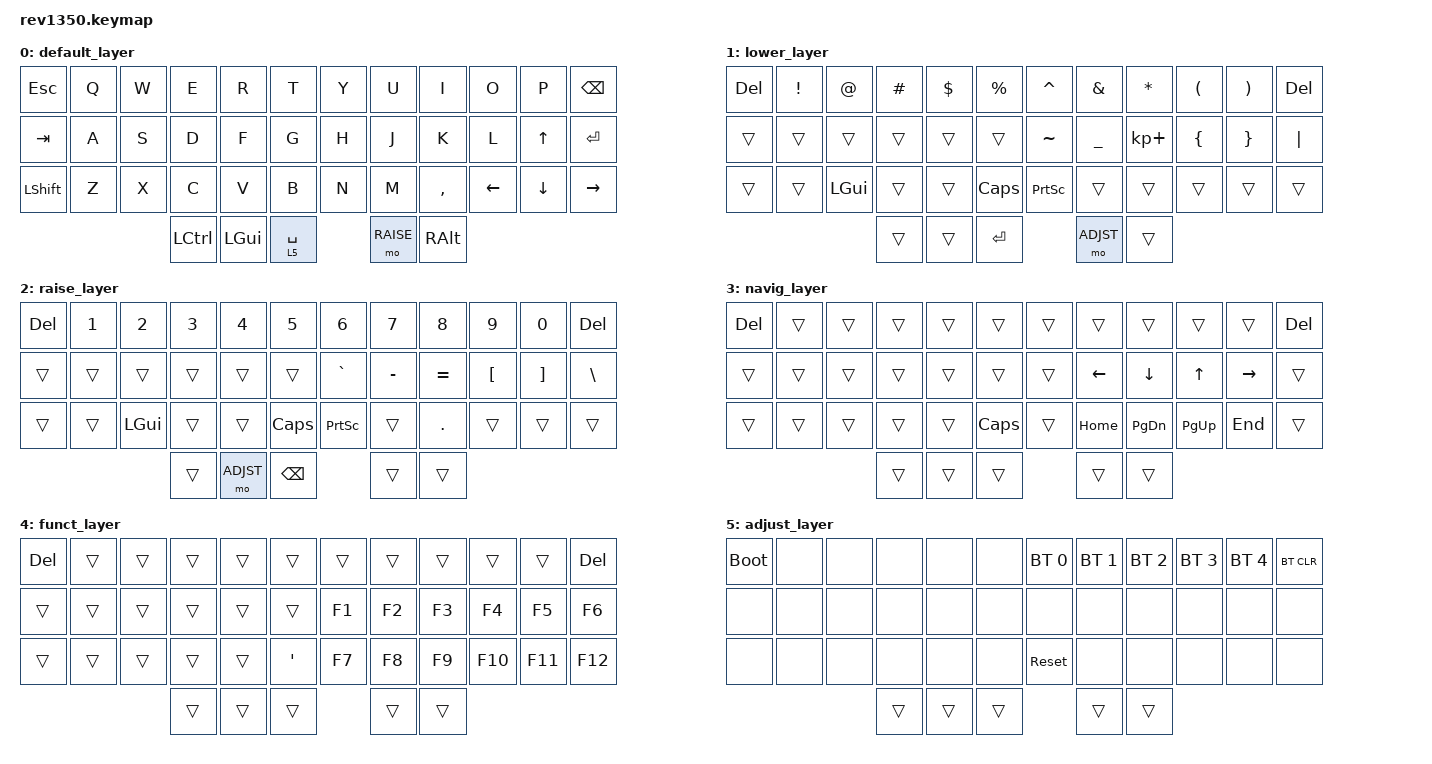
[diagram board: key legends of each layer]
/*
 * Copyright (c) 2020 The ZMK Contributors
 *
 * SPDX-License-Identifier: MIT
 */

#include <behaviors.dtsi>
#include <dt-bindings/zmk/bt.h>
#include <dt-bindings/zmk/keys.h>

#define DEFAULT 0
#define LOWER   1
#define RAISE   2
#define NAVIG   3
#define FUNCT   4
#define ADJST   5

/ {
    behaviors {
        hm: homerow_mods {
            compatible = "zmk,behavior-hold-tap";
            label = "HOMEROW_MODS";
            #binding-cells = <2>;
            tapping-term-ms = <150>;
            quick_tap_ms = <0>;
            flavor = "tap-preferred";
            bindings = <&kp>, <&kp>;
        };
    };

    keymap {
        compatible = "zmk,keymap";

        default_layer {
            // --------------------------------------------------------------------------------------
            // |  TAB |  Q   |  W   |  E   |  R   |  T  |   |  Y  |  U   |  I   |  O   |  P  | BKSP |
            // | CTRL |  A   |  S   |  D   |  F   |  G  |   |  H  |  J   |  K   |  L   |  ;  |   '  |
            // | SHFT |CTL(Z)|ALT(X)|SFT(C)|CTL(V)|  B  |   |  N  |CTL(M)|SFT(,)|ALT(.)|  /  |RETURN|
            //                         | LGUI | LWR |  SPACE  | RSE | FUNC |

            bindings = <
&kp ESCAPE  &kp Q        &kp W       &kp E             &kp R         &kp T               &kp Y  &kp U      &kp I          &kp O           &kp P           &kp BSPC
&kp TAB     &kp A        &kp S       &kp D             &kp F         &kp G               &kp H  &kp J      &kp K          &kp L           &kp UP_ARROW    &kp RET
&kp LSHFT   &kp Z        &kp X       &kp C             &kp V         &kp B               &kp N  &kp M      &kp COMMA      &kp LEFT_ARROW  &kp DOWN_ARROW  &kp RIGHT_ARROW
                                     &kp LEFT_CONTROL  &kp LEFT_GUI         &lt 5 SPACE         &mo RAISE  &kp RIGHT_ALT
            >;
        };

        lower_layer {
            // -----------------------------------------------------------------------------
            // | DEL |  !  |  @  |  #  |  $  |  %  |   |  ^  |  &  |  *  |  (  |  )  | DEL |
            // |     |     |     |     |     |     |   |  ~  |  _  |  +  |  {  |  }  | "|" |
            // |     |     | GUI |     |     | CAPS|   | PRSC|     |     |     |     |     |
            //                       |     |     | RET | ADJ |     |

            bindings = <
&kp DEL  &kp EXCL  &kp AT    &kp HASH  &kp DLLR  &kp PRCNT           &kp CARET  &kp AMPS   &kp ASTRK    &kp LPAR  &kp RPAR  &kp DEL
&trans   &trans    &trans    &trans    &trans    &trans              &kp TILDE  &kp UNDER  &kp KP_PLUS  &kp LBRC  &kp RBRC  &kp PIPE
&trans   &trans    &kp LGUI  &trans    &trans    &kp CLCK            &kp PSCRN  &trans     &trans       &trans    &trans    &trans
                             &trans    &trans               &kp RET             &mo ADJST  &trans
            >;
        };

        raise_layer {
            // -----------------------------------------------------------------------------
            // | DEL |  1  |  2  |  3  |  4  |  5  |   |  6  |  7  |  8  |  9  |  0  | DEL |
            // |     |     |     |     |     |     |   |  `  |  -  |  =  |  [  |  ]  |  \  |
            // |     |     | GUI |     |     | CAPS|   | PRSC|     |     |     |     |     |
            //                       |     | ADJ | BKSP |    |     |

            bindings = <
&kp DEL  &kp N1  &kp N2    &kp N3  &kp N4     &kp N5              &kp N6     &kp N7     &kp N8      &kp N9    &kp N0    &kp DEL
&trans   &trans  &trans    &trans  &trans     &trans              &kp GRAVE  &kp MINUS  &kp EQUAL   &kp LBKT  &kp RBKT  &kp BSLH
&trans   &trans  &kp LGUI  &trans  &trans     &kp CLCK            &kp PSCRN  &trans     &kp PERIOD  &trans    &trans    &trans
                           &trans  &mo ADJST            &kp BSPC             &trans     &trans
            >;
        };

        navig_layer {
            // -----------------------------------------------------------------------------
            // | DEL |     |     |     |     |     |   |     |     |     |     |     | DEL |
            // |     |     |     |     |     |     |   |     |LEFT |DOWN | UP  |RIGHT|     |
            // |     |     |     |     |     |CAPS |   |     |HOME |PG-DN|PG-UP| END |     |
            //                        |     |     |     |     |     |

            bindings = <
&kp DEL  &trans  &trans  &trans  &trans  &trans            &trans  &trans    &trans     &trans     &trans     &kp DEL
&trans   &trans  &trans  &trans  &trans  &trans            &trans  &kp LEFT  &kp DOWN   &kp UP     &kp RIGHT  &trans
&trans   &trans  &trans  &trans  &trans  &kp CLCK          &trans  &kp HOME  &kp PG_DN  &kp PG_UP  &kp END    &trans
                         &trans  &trans            &trans          &trans    &trans
            >;
        };

        funct_layer {
            // -----------------------------------------------------------------------------
            // | DEL |     |     |     |     |     |   |     |     |     |     |     | DEL |
            // |     |     |     |     |     |     |   | F1  | F2  | F3  | F4  | F5  | F6  |
            // |     |     |     |     |     |  '  |   | F7  | F8  | F9  | F10 | F11 | F12 |
            //                        |     |     |     |     |     |

            bindings = <
&kp DEL  &trans  &trans  &trans  &trans  &trans           &trans  &trans  &trans  &trans   &trans   &kp DEL
&trans   &trans  &trans  &trans  &trans  &trans           &kp F1  &kp F2  &kp F3  &kp F4   &kp F5   &kp F6
&trans   &trans  &trans  &trans  &trans  &kp SQT          &kp F7  &kp F8  &kp F9  &kp F10  &kp F11  &kp F12
                         &trans  &trans           &trans          &trans  &trans
            >;
        };

        adjust_layer {
            // ------------------------------------------------------------------------------
            // |     |     |     |     |     |     |   | BT1 | BT2 | BT3 | BT4 | BT5 |BT CLR|
            // |     |     |     |     |     |     |   |     |     |     |     |     |      |
            // |     |     |     |     |     |     |   |RESET|     |     |     |     |      |
            //                        |     |     |     |     |     |

            bindings = <
&bootloader  &none  &none  &none   &none   &none          &bt BT_SEL 0  &bt BT_SEL 1  &bt BT_SEL 2  &bt BT_SEL 3  &bt BT_SEL 4  &bt BT_CLR
&none        &none  &none  &none   &none   &none          &none         &none         &none         &none         &none         &none
&none        &none  &none  &none   &none   &none          &sys_reset    &none         &none         &none         &none         &none
                           &trans  &trans         &trans                &trans        &trans
            >;
        };
    };
};
